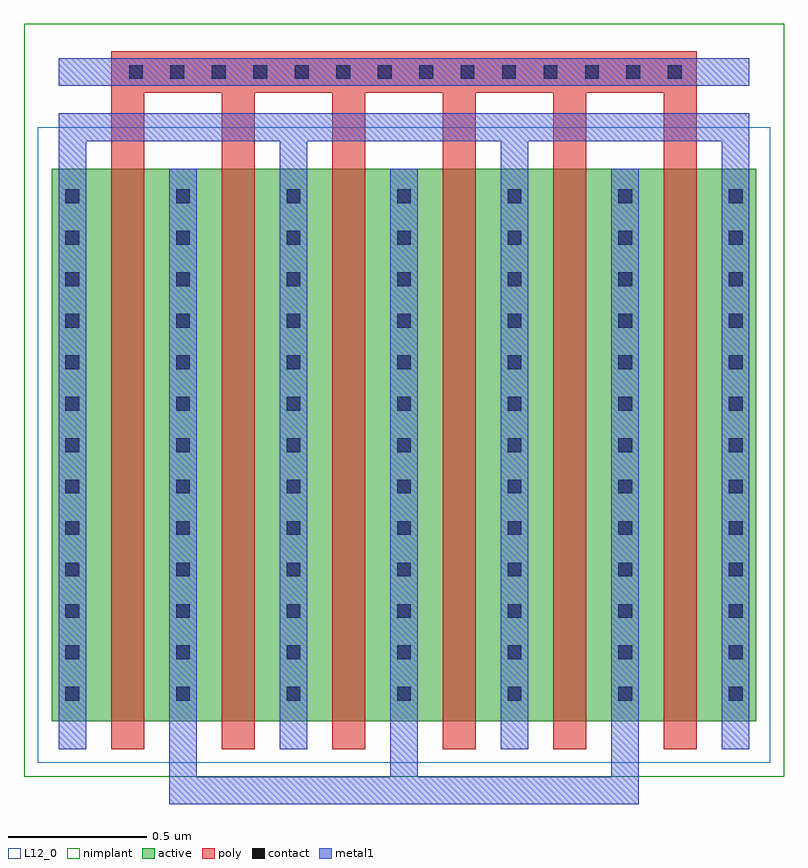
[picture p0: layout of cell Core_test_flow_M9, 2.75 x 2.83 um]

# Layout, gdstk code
import gdstk
lib = gdstk.Library(unit=1e-6, precision=1e-09)
def R(c, l, rs):  # rectangles x0, y0, x1, y1
    for r in rs: c.add(gdstk.rectangle(r[:2], r[2:], *l))
def A(c, l, x, y, w, h, nx, ny, dx, dy):  # array of equal rectangles
    R(c, l, [(x+i*dx, y+j*dy, x+i*dx+w, y+j*dy+h) for i in range(nx) for j in range(ny)])
active = (6, 0)
L12_0 = (12, 0)
poly = (17, 0)
nimplant = (26, 0)
contact = (30, 0)
metal1 = (31, 0)

core_test_flow_m9 = lib.new_cell('Core_test_flow_M9')
R(core_test_flow_m9, active, [(-0.075,0.05,2.475,2.05)])
R(core_test_flow_m9, L12_0, [(-0.125,-0.1,2.525,2.2)])
A(core_test_flow_m9, poly, 0.14, -0.05, 0.12, 2.2, 6, 1, 0.4, 0)
A(core_test_flow_m9, poly, 0.14, 2.05, 0.12, 0.3, 6, 1, 0.4, 0)
R(core_test_flow_m9, poly, [(0.14,2.325,2.26,2.475)])
R(core_test_flow_m9, nimplant, [(-0.175,-0.15,2.575,2.575)])
A(core_test_flow_m9, contact, -0.025, 0.125, 0.05, 0.05, 7, 13, 0.4, 0.15)
A(core_test_flow_m9, contact, 0.205, 2.375, 0.05, 0.05, 14, 1, 0.15, 0)
A(core_test_flow_m9, metal1, 0.35, -0.15, 0.1, 0.1, 3, 1, 0.8, 0)
A(core_test_flow_m9, metal1, -0.05, -0.05, 0.1, 2.1, 7, 1, 0.4, 0)
A(core_test_flow_m9, metal1, -0.05, 0.05, 0.1, 2, 7, 1, 0.4, 0)
A(core_test_flow_m9, metal1, -0.05, 2.05, 0.1, 0.1, 4, 1, 0.8, 0)
R(core_test_flow_m9, metal1, [(0.35,-0.25,2.05,-0.15), (-0.05,2.15,2.45,2.25), (-0.05,2.35,2.45,2.45), (0.14,2.35,2.26,2.45)])

lib.write_gds('Core_test_flow_M9.gds')
